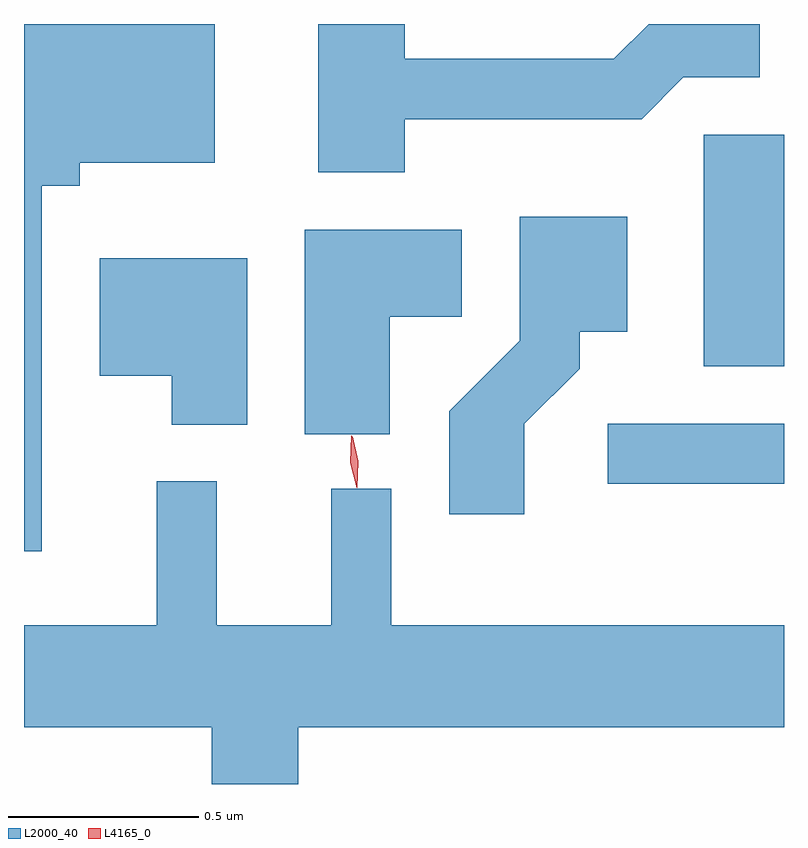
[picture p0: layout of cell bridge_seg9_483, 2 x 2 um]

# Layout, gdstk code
import gdstk
lib = gdstk.Library(unit=1e-6, precision=1e-09)
def R(c, l, rs):  # rectangles x0, y0, x1, y1
    for r in rs: c.add(gdstk.rectangle(r[:2], r[2:], *l))
def P(c, l, *ps):  # polygons
    for p in ps: c.add(gdstk.Polygon(p, *l))
L2000_40 = (2000, 40)
L4165_0 = (4165, 0)

bridge_seg9_483 = lib.new_cell('bridge_seg9_483')
R(bridge_seg9_483, L2000_40, [(442.153,1992.456,442.617,1992.614), (442.406,1992.766,442.617,1993.374)])
P(bridge_seg9_483, L2000_40, [(441.619,1993.416),(442.242,1993.416),(442.352,1993.526),(442.553,1993.526),(442.553,1993.666),(442.261,1993.666),(442.169,1993.574),(441.619,1993.574),(441.619,1993.666),(441.391,1993.666),(441.391,1993.276),(441.619,1993.276)],
  [(440.664,1993.241),(440.764,1993.241),(440.764,1993.301),(441.119,1993.301),(441.119,1993.666),(440.617,1993.666),(440.617,1992.278),(440.664,1992.278)],
  [(441.934,1992.614),(442.079,1992.759),(442.079,1992.856),(442.204,1992.856),(442.204,1993.159),(441.921,1993.159),(441.921,1992.832),(441.736,1992.647),(441.736,1992.376),(441.934,1992.376)],
  [(441.579,1992.896),(441.769,1992.896),(441.769,1993.124),(441.356,1993.124),(441.356,1992.586),(441.579,1992.586)],
  [(441.204,1993.049),(440.816,1993.049),(440.816,1992.741),(441.006,1992.741),(441.006,1992.611),(441.204,1992.611)],
  [(441.339,1991.816),(442.617,1991.816),(442.617,1992.084),(441.584,1992.084),(441.584,1992.443),(441.426,1992.443),(441.426,1992.084),(441.124,1992.084),(441.124,1992.463),(440.966,1992.463),(440.966,1992.084),(440.617,1992.084),(440.617,1991.816),(441.111,1991.816),(441.111,1991.666),(441.339,1991.666)])
P(bridge_seg9_483, L4165_0, [(441.493,1992.445),(441.476,1992.512),(441.478,1992.582),(441.479,1992.582),(441.479,1992.582),(441.496,1992.515),(441.494,1992.445),(441.494,1992.445)],
  [(441.493,1992.448),(441.478,1992.513),(441.481,1992.58),(441.481,1992.58),(441.482,1992.58),(441.497,1992.515),(441.494,1992.448),(441.494,1992.448)])

lib.write_gds('bridge_seg9_483.gds')
